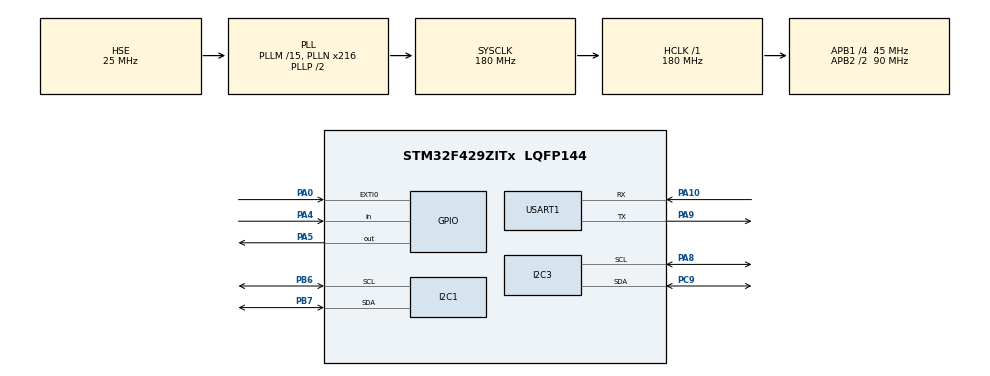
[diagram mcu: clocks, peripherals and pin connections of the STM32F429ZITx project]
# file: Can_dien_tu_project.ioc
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I2C1.I2C_Mode=I2C_Fast
I2C3.I2C_Mode=I2C_Fast
Mcu.Family=STM32F4
Mcu.Name=STM32F429ZITx
Mcu.Package=LQFP144
NVIC.EXTI0_IRQn=true\:1\:0\:true\:false\:true\:true\:true\:true
NVIC.PriorityGroup=NVIC_PRIORITYGROUP_4
PA0/WKUP.Signal=GPXTI0
PA10.Mode=Asynchronous
PA10.Signal=USART1_RX
PA13.Mode=Serial_Wire
PA13.Signal=SYS_JTMS-SWDIO
PA14.Mode=Serial_Wire
PA14.Signal=SYS_JTCK-SWCLK
PA4.Signal=GPIO_Input
PA5.GPIO_Speed=GPIO_SPEED_FREQ_LOW
PA5.Signal=GPIO_Output
PA8.Mode=I2C
PA8.Signal=I2C3_SCL
PA9.Mode=Asynchronous
PA9.Signal=USART1_TX
PB6.Mode=I2C
PB6.Signal=I2C1_SCL
PB7.Mode=I2C
PB7.Signal=I2C1_SDA
PC9.Mode=I2C
PC9.Signal=I2C3_SDA
PH0/OSC_IN.Mode=HSE-External-Oscillator
PH0/OSC_IN.Signal=RCC_OSC_IN
PH1/OSC_OUT.Mode=HSE-External-Oscillator
PH1/OSC_OUT.Signal=RCC_OSC_OUT
ProjectManager.HeapSize=0x200
ProjectManager.StackSize=0x400
ProjectManager.TargetToolchain=STM32CubeIDE
RCC.48MHZClocksFreq_Value=90000000
RCC.AHBFreq_Value=180000000
RCC.APB1CLKDivider=RCC_HCLK_DIV4
RCC.APB1Freq_Value=45000000
RCC.APB1TimFreq_Value=90000000
RCC.APB2CLKDivider=RCC_HCLK_DIV2
RCC.APB2Freq_Value=90000000
RCC.APB2TimFreq_Value=180000000
RCC.CortexFreq_Value=180000000
RCC.HCLKFreq_Value=180000000
RCC.HSE_VALUE=25000000
RCC.HSI_VALUE=16000000
RCC.LSE_VALUE=32768
RCC.PLLM=15
RCC.PLLN=216
RCC.PLLSourceVirtual=RCC_PLLSOURCE_HSE
RCC.SYSCLKFreq_VALUE=180000000
RCC.SYSCLKSource=RCC_SYSCLKSOURCE_PLLCLK
RCC.VCOOutputFreq_Value=360000000
USART1.VirtualMode=VM_ASYNC
board=custom

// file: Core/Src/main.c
/* USER CODE BEGIN Header */
/**
  ******************************************************************************
  * @file           : main.c
  * @brief          : Main program body
  ******************************************************************************
  * @attention
  *
  * Copyright (c) 2025 STMicroelectronics.
  * All rights reserved.
  *
  * This software is licensed under terms that can be found in the LICENSE file
  * in the root directory of this software component.
  * If no LICENSE file comes with this software, it is provided AS-IS.
  *
  ******************************************************************************
  */
/* USER CODE END Header */
#include "main.h"

/* USER CODE BEGIN Includes */
#include "uart_interface.h"
#include "scale_process.h"
#include "log_process.h"
#include "sleep_process.h"

#include <string.h>
#include <stdbool.h>
/* USER CODE END Includes */

I2C_HandleTypeDef hi2c1;
I2C_HandleTypeDef hi2c3;

UART_HandleTypeDef huart1;

/* USER CODE BEGIN PV */
uint8_t userInput = 0;
uint8_t currentMenu = 0;
uint32_t lastActivityTime = 0;
const uint32_t timeout = 60000;
uint16_t newLogAddr;

/* USER CODE END PV */

void SystemClock_Config(void);
static void MX_GPIO_Init(void);
static void MX_USART1_UART_Init(void);
static void MX_I2C3_Init(void);
static void MX_I2C1_Init(void);

int main(void)
{

  /* MCU Configuration--------------------------------------------------------*/

  /* Reset of all peripherals, Initializes the Flash interface and the Systick. */
  HAL_Init();

  /* Configure the system clock */
  SystemClock_Config();

  /* Initialize all configured peripherals */
  MX_GPIO_Init();
  MX_USART1_UART_Init();
  MX_I2C3_Init();
  MX_I2C1_Init();
  /* USER CODE BEGIN 2 */
  wakeup_Init(); //sleep_process setup
  //InitialTime(); // BẬT KHI MUỐN ĐẶT LẠI GIỜ
  DS3231_Module_Init(); //log_process setup
  Scale_Init(); //scale_process setup

  lastActivityTime = HAL_GetTick();
  showMainMenu();

  /* USER CODE END 2 */

  /* Infinite loop */
  /* USER CODE BEGIN WHILE */
  while (1)
  {
	// Nhận dữ liệu từ UART
	if (HAL_UART_Receive(&huart1, &userInput, 1, 10) == HAL_OK) {
		lastActivityTime = HAL_GetTick();

		switch (currentMenu) {
			case 0:
				switch (userInput) {
					case '1':
						HAL_UART_Transmit(&huart1,
								(uint8_t*) ">> Vao che do can...\r\n", 26,
								HAL_MAX_DELAY);
						currentMenu = 1;
						showScaleOptions();
						break;
					case '2':
						HAL_UART_Transmit(&huart1,
								(uint8_t*) ">> Truy cap lich su can...\r\n", 31,
								HAL_MAX_DELAY);
						currentMenu = 2;
						printAllLogs();
						showLogOptions();
						break;
					case '3':
						HAL_UART_Transmit(&huart1,
								(uint8_t*) ">> Thoat va chuyen sang sleep...\r\n",
								36, HAL_MAX_DELAY);
						DS3231_Module_Close();
					    Scale_Close();

					    enterSleep(); // vào sleep
					    SystemClock_Config(); // cần gọi sau khi thoát sleep
					    currentMenu = 0;
					    HAL_Delay(100); // Chờ ổn định trước khi gửi

					    LCD_Backlight_On(&hi2c1); // bật màn hình lcd sáng
					    showMainMenu(); // hiện màn hình chính sau khi thức dậy
						break;
					default:
						HAL_UART_Transmit(&huart1,
								(uint8_t*) "Vui long chon (1-3): \r\n", 24,
								HAL_MAX_DELAY);
						break;
				}
				break;

			case 1:
				switch (userInput) {
					case '1': {
						HAL_UART_Transmit(&huart1,
								(uint8_t*) ">> Luu ket qua...\r\n", 20,
								HAL_MAX_DELAY);
						startScaleProcess();
						WeightLog log;
						getTime(&log.timestamp);
						log.weight = getWeight();
						newLogAddr = getLastLogAddress();
						writeWeightLog(newLogAddr, &log);
						currentMenu = 0;
						showMainMenu();
						break;
					}
					case '2':
						HAL_UART_Transmit(&huart1,
								(uint8_t*) ">> Khong luu ket qua...\r\n", 27,
								HAL_MAX_DELAY);
						startScaleProcess();
						currentMenu = 0;
						showMainMenu();
						break;
					case '3':
						HAL_UART_Transmit(&huart1,
								(uint8_t*) ">> Huy, quay lai menu chinh...\r\n", 33,
								HAL_MAX_DELAY);
						currentMenu = 0;
						showMainMenu();
						break;
					default:
						HAL_UART_Transmit(&huart1,
								(uint8_t*) "Vui long chon (1-3): \r\n", 24,
								HAL_MAX_DELAY);
						break;
				}
				break;

			case 2:
				switch (userInput) {
					case '1':
						HAL_UART_Transmit(&huart1,
								(uint8_t*) ">> Xoa, quay lai menu chinh...\r\n", 33,
								HAL_MAX_DELAY);
						clearLastLog();
						currentMenu = 0;
						showMainMenu();
						break;
					case '2':
						HAL_UART_Transmit(&huart1,
								(uint8_t*) ">> Xoa toan bo, quay lai menu chinh...\r\n", 40,
								HAL_MAX_DELAY);
						clearAllLogs();
						currentMenu = 0;
						showMainMenu();
						break;
					case '3':
						HAL_UART_Transmit(&huart1,
								(uint8_t*) ">> Thoat, quay lai menu chinh...\r\n", 40,
								HAL_MAX_DELAY);
						currentMenu = 0;
						showMainMenu();
						break;
					default:
						HAL_UART_Transmit(&huart1,
								(uint8_t*) "Vui long chon (1-3): \r\n", 24,
								HAL_MAX_DELAY);
						break;
				}
				break;
			}
	}

	// Kiểm tra timeout
	if (HAL_GetTick() - lastActivityTime > timeout) {
		HAL_UART_Transmit(&huart1,
				(uint8_t*) "Khong co thao tac, vao sleep...\r\n", 33,
				HAL_MAX_DELAY);
		DS3231_Module_Close();
		Scale_Close();

		enterSleep(); // vào sleep
		SystemClock_Config(); // cần gọi sau khi thoát sleep
		currentMenu = 0;
		HAL_Delay(100); // Chờ ổn định trước khi gửi

		LCD_Backlight_On(&hi2c1); // bật màn hình lcd sáng
		showMainMenu(); // hiện màn hình chính sau khi thức dậy
	}

    /* USER CODE END WHILE */

  }
}

void SystemClock_Config(void)
{
  RCC_OscInitTypeDef RCC_OscInitStruct = {0};
  RCC_ClkInitTypeDef RCC_ClkInitStruct = {0};

  /** Configure the main internal regulator output voltage
  */
  __HAL_RCC_PWR_CLK_ENABLE();
  __HAL_PWR_VOLTAGESCALING_CONFIG(PWR_REGULATOR_VOLTAGE_SCALE1);

  /** Initializes the RCC Oscillators according to the specified parameters
  * in the RCC_OscInitTypeDef structure.
  */
  RCC_OscInitStruct.OscillatorType = RCC_OSCILLATORTYPE_HSE;
  RCC_OscInitStruct.HSEState = RCC_HSE_ON;
  RCC_OscInitStruct.PLL.PLLState = RCC_PLL_ON;
  RCC_OscInitStruct.PLL.PLLSource = RCC_PLLSOURCE_HSE;
  RCC_OscInitStruct.PLL.PLLM = 15;
  RCC_OscInitStruct.PLL.PLLN = 216;
  RCC_OscInitStruct.PLL.PLLP = RCC_PLLP_DIV2;
  RCC_OscInitStruct.PLL.PLLQ = 4;
  if (HAL_RCC_OscConfig(&RCC_OscInitStruct) != HAL_OK)
  {
    Error_Handler();
  }

  /** Activate the Over-Drive mode
  */
  if (HAL_PWREx_EnableOverDrive() != HAL_OK)
  {
    Error_Handler();
  }

  /** Initializes the CPU, AHB and APB buses clocks
  */
  RCC_ClkInitStruct.ClockType = RCC_CLOCKTYPE_HCLK|RCC_CLOCKTYPE_SYSCLK
                              |RCC_CLOCKTYPE_PCLK1|RCC_CLOCKTYPE_PCLK2;
  RCC_ClkInitStruct.SYSCLKSource = RCC_SYSCLKSOURCE_PLLCLK;
  RCC_ClkInitStruct.AHBCLKDivider = RCC_SYSCLK_DIV1;
  RCC_ClkInitStruct.APB1CLKDivider = RCC_HCLK_DIV4;
  RCC_ClkInitStruct.APB2CLKDivider = RCC_HCLK_DIV2;

  if (HAL_RCC_ClockConfig(&RCC_ClkInitStruct, FLASH_LATENCY_5) != HAL_OK)
  {
    Error_Handler();
  }
}

static void MX_I2C1_Init(void)
{

  hi2c1.Instance = I2C1;
  hi2c1.Init.ClockSpeed = 400000;
  hi2c1.Init.DutyCycle = I2C_DUTYCYCLE_2;
  hi2c1.Init.OwnAddress1 = 0;
  hi2c1.Init.AddressingMode = I2C_ADDRESSINGMODE_7BIT;
  hi2c1.Init.DualAddressMode = I2C_DUALADDRESS_DISABLE;
  hi2c1.Init.OwnAddress2 = 0;
  hi2c1.Init.GeneralCallMode = I2C_GENERALCALL_DISABLE;
  hi2c1.Init.NoStretchMode = I2C_NOSTRETCH_DISABLE;
  if (HAL_I2C_Init(&hi2c1) != HAL_OK)
  {
    Error_Handler();
  }

  /** Configure Analogue filter
  */
  if (HAL_I2CEx_ConfigAnalogFilter(&hi2c1, I2C_ANALOGFILTER_ENABLE) != HAL_OK)
  {
    Error_Handler();
  }

  /** Configure Digital filter
  */
  if (HAL_I2CEx_ConfigDigitalFilter(&hi2c1, 0) != HAL_OK)
  {
    Error_Handler();
  }

}

static void MX_I2C3_Init(void)
{

  hi2c3.Instance = I2C3;
  hi2c3.Init.ClockSpeed = 400000;
  hi2c3.Init.DutyCycle = I2C_DUTYCYCLE_2;
  hi2c3.Init.OwnAddress1 = 0;
  hi2c3.Init.AddressingMode = I2C_ADDRESSINGMODE_7BIT;
  hi2c3.Init.DualAddressMode = I2C_DUALADDRESS_DISABLE;
  hi2c3.Init.OwnAddress2 = 0;
  hi2c3.Init.GeneralCallMode = I2C_GENERALCALL_DISABLE;
  hi2c3.Init.NoStretchMode = I2C_NOSTRETCH_DISABLE;
  if (HAL_I2C_Init(&hi2c3) != HAL_OK)
  {
    Error_Handler();
  }

  /** Configure Analogue filter
  */
  if (HAL_I2CEx_ConfigAnalogFilter(&hi2c3, I2C_ANALOGFILTER_ENABLE) != HAL_OK)
  {
    Error_Handler();
  }

  /** Configure Digital filter
  */
  if (HAL_I2CEx_ConfigDigitalFilter(&hi2c3, 0) != HAL_OK)
  {
    Error_Handler();
  }

}

static void MX_USART1_UART_Init(void)
{

  huart1.Instance = USART1;
  huart1.Init.BaudRate = 115200;
  huart1.Init.WordLength = UART_WORDLENGTH_8B;
  huart1.Init.StopBits = UART_STOPBITS_1;
  huart1.Init.Parity = UART_PARITY_NONE;
  huart1.Init.Mode = UART_MODE_TX_RX;
  huart1.Init.HwFlowCtl = UART_HWCONTROL_NONE;
  huart1.Init.OverSampling = UART_OVERSAMPLING_16;
  if (HAL_UART_Init(&huart1) != HAL_OK)
  {
    Error_Handler();
  }

}

static void MX_GPIO_Init(void)
{
  GPIO_InitTypeDef GPIO_InitStruct = {0};

  /* GPIO Ports Clock Enable */
  __HAL_RCC_GPIOH_CLK_ENABLE();
  __HAL_RCC_GPIOA_CLK_ENABLE();
  __HAL_RCC_GPIOC_CLK_ENABLE();
  __HAL_RCC_GPIOB_CLK_ENABLE();

  /*Configure GPIO pin Output Level */
  HAL_GPIO_WritePin(GPIOA, GPIO_PIN_5, GPIO_PIN_RESET);

  /*Configure GPIO pin : PA0 */
  GPIO_InitStruct.Pin = GPIO_PIN_0;
  GPIO_InitStruct.Mode = GPIO_MODE_IT_RISING;
  GPIO_InitStruct.Pull = GPIO_NOPULL;
  HAL_GPIO_Init(GPIOA, &GPIO_InitStruct);

  /*Configure GPIO pin : PA4 */
  GPIO_InitStruct.Pin = GPIO_PIN_4;
  GPIO_InitStruct.Mode = GPIO_MODE_INPUT;
  GPIO_InitStruct.Pull = GPIO_NOPULL;
  HAL_GPIO_Init(GPIOA, &GPIO_InitStruct);

  /*Configure GPIO pin : PA5 */
  GPIO_InitStruct.Pin = GPIO_PIN_5;
  GPIO_InitStruct.Mode = GPIO_MODE_OUTPUT_PP;
  GPIO_InitStruct.Pull = GPIO_NOPULL;
  GPIO_InitStruct.Speed = GPIO_SPEED_FREQ_LOW;
  HAL_GPIO_Init(GPIOA, &GPIO_InitStruct);

  /* EXTI interrupt init*/
  HAL_NVIC_SetPriority(EXTI0_IRQn, 1, 0);
  HAL_NVIC_EnableIRQ(EXTI0_IRQn);

}

void Error_Handler(void)
{
  __disable_irq();
  while (1)
  {
  }
}
